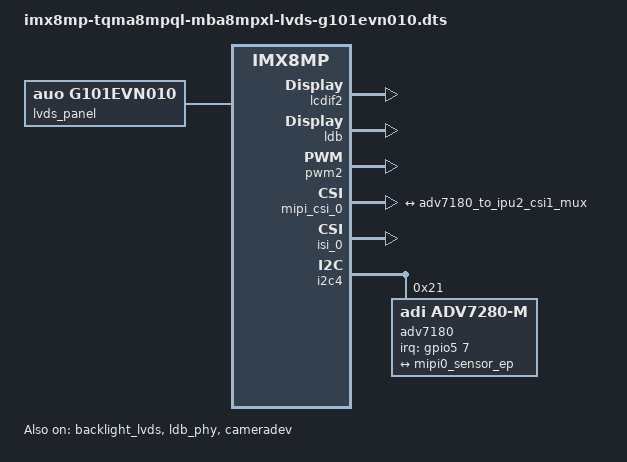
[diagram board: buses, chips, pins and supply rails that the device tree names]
// SPDX-License-Identifier: GPL-2.0-or-later OR MIT
/*
 * Copyright 2021 TQ-Systems GmbH
 */

#include "imx8mp-tqma8mpql-mba8mpxl.dts"

&backlight_lvds {
	pwms = <&pwm2 0 4166667>;
	brightness-levels = < 0  1  2  3  4  5  6  7  8  9
				10 11 12 13 14 15 16 17 18 19
				20 21 22 23 24 25 26 27 28 29
				30 31 32 33 34 35 36 37 38 39
				40 41 42 43 44 45 46 47 48 49
				50 51 52 53 54 55 56 57 58 59
				60 61 62 63 64 65 66 67 68 69
				70 71 72 73 74 75 76 77 78 79
				80 81 82 83 84 85 86 87 88 89
				90 91 92 93 94 95 96 97 98 99
				100>;
	default-brightness-level = <80>;
	status = "okay";
};

&lcdif2 {
	status = "okay";
};

&ldb_phy {
	status = "okay";
};

&ldb {
	status = "okay";

	lvds-channel@0 {
		fsl,data-mapping = "spwg";
		fsl,data-width = <24>;
		status = "okay";
	};
};

&lvds_panel {
	compatible = "auo,g101evn010";
	status = "okay";
};

&pwm2 {
	status = "okay";
};

&mipi_csi_0 {
	#address-cells = <1>;
	#size-cells = <0>;
	status = "okay";
	port@0 {
		reg = <0>;
		mipi0_sensor_ep: endpoint {
			remote-endpoint = <&adv7180_to_ipu2_csi1_mux>;
			data-lanes = <1>;
			csis-hs-settle = <13>;
			csis-clk-settle = <2>;
			csis-wclk;
		};
	};
};

&cameradev {
	status = "okay";
};

&isi_0 {
	status = "okay";
	cap_device {
		status = "okay";
	};
};

&iomuxc {
	pinctrl_i2c4_adv7280_int: dsi_ts_int {
		fsl,pins = <
			MX8MP_IOMUXC_ECSPI1_MOSI__GPIO5_IO07		0x1C0
		>;
	};

};
&i2c4 {
	adv7180: camera@21 {
		compatible = "adi,adv7280-m";
		reg = <0x21>;
#if 0
		powerdown-gpios = <&gpio3 31 GPIO_ACTIVE_LOW>;
#endif
		pinctrl-0 = <&pinctrl_i2c4_adv7280_int>;
		interrupt-parent = <&gpio5>;
		interrupts = <7 IRQ_TYPE_EDGE_FALLING>;

		port {
			adv7180_to_ipu2_csi1_mux: endpoint {
				remote-endpoint = <&mipi0_sensor_ep>;
				data-lanes = <1>;
				clock-lanes = <0>;
			};
		};
	};
};
